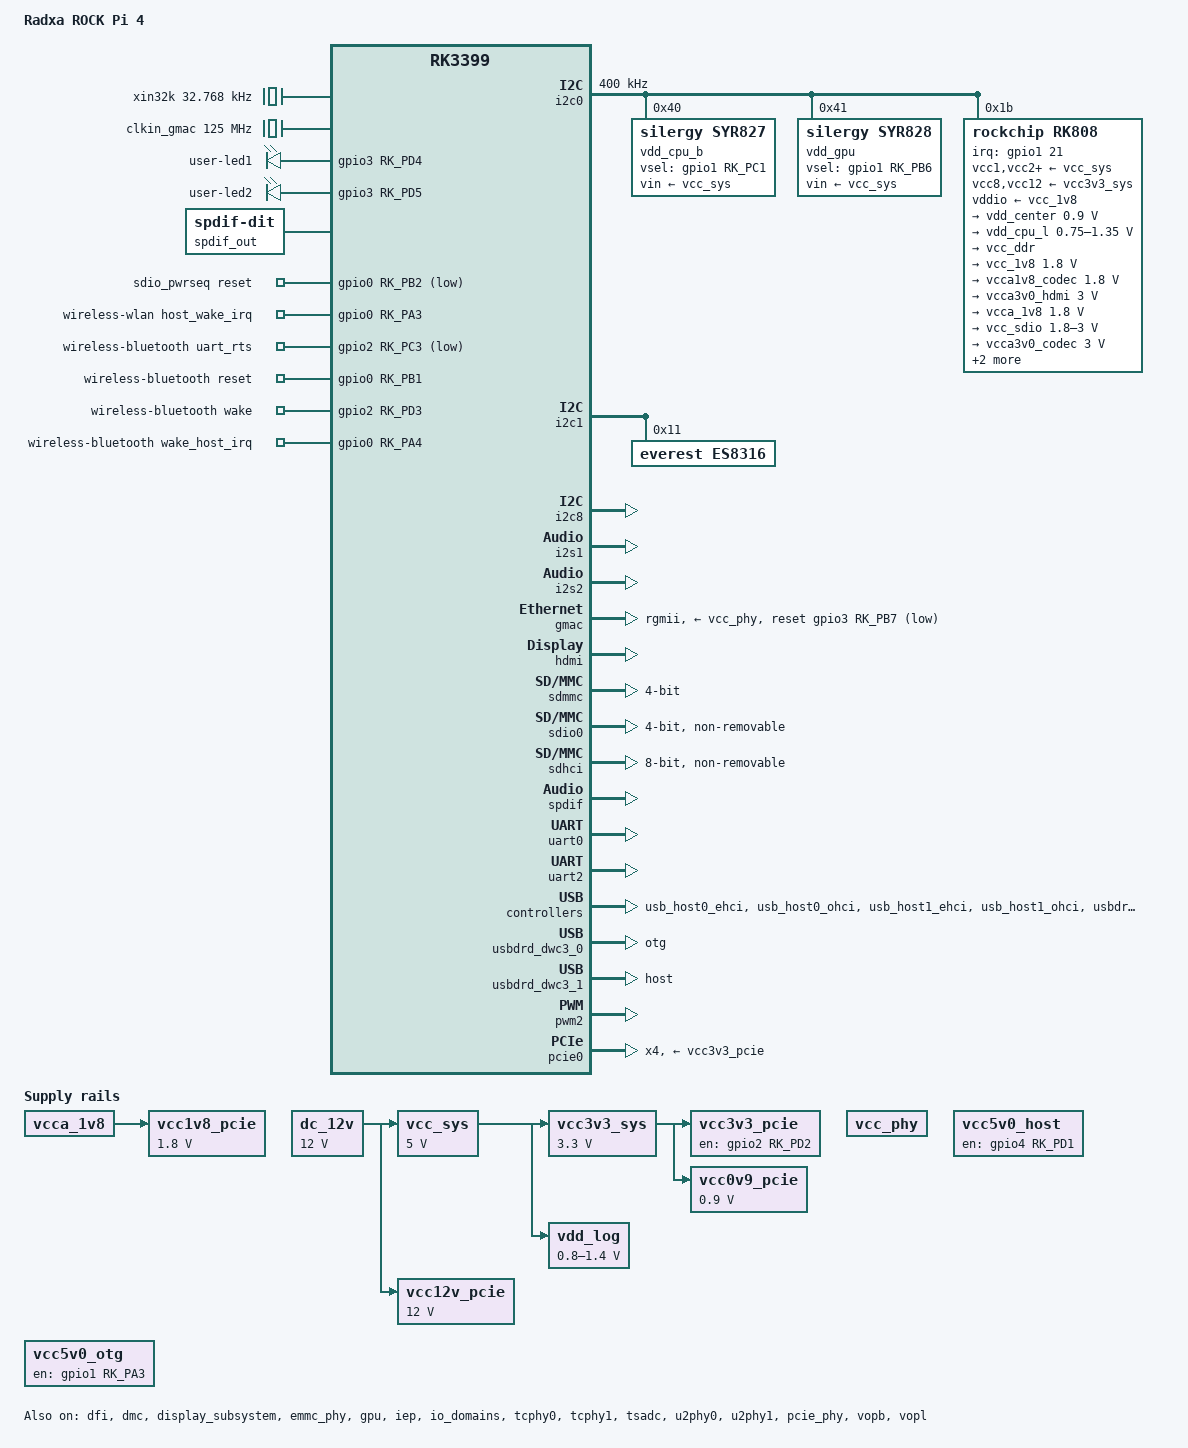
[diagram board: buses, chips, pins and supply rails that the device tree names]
/*
 * Copyright (c) 2016 Fuzhou Rockchip Electronics Co., Ltd
 *
 * This file is dual-licensed: you can use it either under the terms
 * of the GPL or the X11 license, at your option. Note that this dual
 * licensing only applies to this file, and not this project as a
 * whole.
 *
 *  a) This file is free software; you can redistribute it and/or
 *     modify it under the terms of the GNU General Public License as
 *     published by the Free Software Foundation; either version 2 of the
 *     License, or (at your option) any later version.
 *
 *     This file is distributed in the hope that it will be useful,
 *     but WITHOUT ANY WARRANTY; without even the implied warranty of
 *     MERCHANTABILITY or FITNESS FOR A PARTICULAR PURPOSE.  See the
 *     GNU General Public License for more details.
 *
 * Or, alternatively,
 *
 *  b) Permission is hereby granted, free of charge, to any person
 *     obtaining a copy of this software and associated documentation
 *     files (the "Software"), to deal in the Software without
 *     restriction, including without limitation the rights to use,
 *     copy, modify, merge, publish, distribute, sublicense, and/or
 *     sell copies of the Software, and to permit persons to whom the
 *     Software is furnished to do so, subject to the following
 *     conditions:
 *
 *     The above copyright notice and this permission notice shall be
 *     included in all copies or substantial portions of the Software.
 *
 *     THE SOFTWARE IS PROVIDED "AS IS", WITHOUT WARRANTY OF ANY KIND,
 *     EXPRESS OR IMPLIED, INCLUDING BUT NOT LIMITED TO THE WARRANTIES
 *     OF MERCHANTABILITY, FITNESS FOR A PARTICULAR PURPOSE AND
 *     NONINFRINGEMENT. IN NO EVENT SHALL THE AUTHORS OR COPYRIGHT
 *     HOLDERS BE LIABLE FOR ANY CLAIM, DAMAGES OR OTHER LIABILITY,
 *     WHETHER IN AN ACTION OF CONTRACT, TORT OR OTHERWISE, ARISING
 *     FROM, OUT OF OR IN CONNECTION WITH THE SOFTWARE OR THE USE OR
 *     OTHER DEALINGS IN THE SOFTWARE.
 */

/dts-v1/;
#include <dt-bindings/pwm/pwm.h>
#include <dt-bindings/input/input.h>
#include "rk3399.dtsi"
#include "rk3399-linux.dtsi"
#include "rk3399-opp.dtsi"

/ {
	model = "Radxa ROCK Pi 4";
	compatible = "radxa,rockpi4", "rockchip,rk3399";

	aliases {
		ethernet0 = &gmac;
		uart0 = &uart0;
	};

	xin32k: xin32k {
		compatible = "fixed-clock";
		clock-frequency = <32768>;
		clock-output-names = "xin32k";
		#clock-cells = <0>;
	};

	clkin_gmac: external-gmac-clock {
		compatible = "fixed-clock";
		clock-frequency = <125000000>;
		clock-output-names = "clkin_gmac";
		#clock-cells = <0>;
	};

	dc_12v: dc-12v {
		compatible = "regulator-fixed";
		regulator-name = "dc_12v";
		regulator-always-on;
		regulator-boot-on;
		regulator-min-microvolt = <12000000>;
		regulator-max-microvolt = <12000000>;
	};

	vcc_sys: vcc-sys {
		compatible = "regulator-fixed";
		regulator-name = "vcc_sys";
		regulator-min-microvolt = <5000000>;
		regulator-max-microvolt = <5000000>;
		regulator-always-on;
		vin-supply = <&dc_12v>;
	};

	vcc_phy: vcc-phy-regulator {
		compatible = "regulator-fixed";
		regulator-name = "vcc_phy";
		regulator-always-on;
		regulator-boot-on;
	};

	vcc3v3_sys: vcc3v3-sys {
		compatible = "regulator-fixed";
		regulator-name = "vcc3v3_sys";
		regulator-min-microvolt = <3300000>;
		regulator-max-microvolt = <3300000>;
		regulator-always-on;
		vin-supply = <&vcc_sys>;
	};

	vcc5v0_host: vcc5v0-host-regulator {
		compatible = "regulator-fixed";
		enable-active-high;
		gpio = <&gpio4 RK_PD1 GPIO_ACTIVE_HIGH>;
		pinctrl-names = "default";
		pinctrl-0 = <&host_vbus_drv>;
		regulator-name = "vcc5v0_host";
		regulator-always-on;
	};

	vdd_log: vdd-log {
		compatible = "pwm-regulator";
		pwms = <&pwm2 0 25000 1>;
		regulator-name = "vdd_log";
		regulator-min-microvolt = <800000>;
		regulator-max-microvolt = <1400000>;
		regulator-always-on;
		regulator-boot-on;

		/* for rockchip boot on */
		rockchip,pwm_id= <2>;
		rockchip,pwm_voltage = <900000>;

		vin-supply = <&vcc_sys>;
	};

	vcc12v_pcie: vcc12v-pcie-regulator {
		compatible = "regulator-fixed";
		regulator-min-microvolt = <12000000>;
		regulator-max-microvolt = <12000000>;
		regulator-name = "vcc12v_pcie";
		vin-supply = <&dc_12v>;
	};

	vcc3v3_pcie: vcc3v3-pcie-regulator {
		compatible = "regulator-fixed";
		enable-active-high;
		gpio = <&gpio2 RK_PD2 GPIO_ACTIVE_HIGH>;
		pinctrl-names = "default";
		pinctrl-0 = <&pcie_drv>;
		regulator-boot-on;
		regulator-always-on;
		regulator-name = "vcc3v3_pcie";
		vin-supply = <&vcc3v3_sys>;
	};

	vcc1v8_pcie: vcc1v8-pcie {
		compatible = "regulator-fixed";
		regulator-name = "vcc1v8_pcie";
		regulator-min-microvolt = <1800000>;
		regulator-max-microvolt = <1800000>;
		vin-supply = <&vcca_1v8>;
	};

	vcc0v9_pcie: vcc0v9-pcie {
		compatible = "regulator-fixed";
		regulator-name = "vcc0v9_pcie";
		regulator-min-microvolt = <900000>;
		regulator-max-microvolt = <900000>;
		vin-supply = <&vcc3v3_sys>;
	};

	vcc5v0_otg: vcc5v0-otg-regulator {
		compatible = "regulator-fixed";
		enable-active-high;
		gpio = <&gpio1 RK_PA3 GPIO_ACTIVE_HIGH>;
		pinctrl-names = "default";
		pinctrl-0 = <&otg_vbus_drv>;
		regulator-name = "vcc5v0_otg";
		regulator-always-on;
	};

	test-power {
		status = "okay";
	};

	leds {
		compatible = "gpio-leds";

		user-led1 {
			gpios=<&gpio3 RK_PD4 GPIO_ACTIVE_HIGH>;
			linux,default-trigger = "heartbeat";
		};

		user-led2 {
			gpios=<&gpio3 RK_PD5 GPIO_ACTIVE_HIGH>;
			linux,default-trigger = "disk-activity";
		};
	};

	es8316-sound {
		compatible = "simple-audio-card";
		simple-audio-card,format = "i2s";
		simple-audio-card,name = "ES8316";
		simple-audio-card,mclk-fs = <256>;
		simple-audio-card,widgets =
			"Microphone", "Mic Jack",
			"Headphone", "Headphone Jack";
		simple-audio-card,routing =
			"Headphone Jack", "HPOL",
			"Headphone Jack", "HPOR",
			"Mic Jack", "MIC1";
		simple-audio-card,cpu {
			sound-dai = <&i2s1>;
		};
		simple-audio-card,codec {
			sound-dai = <&es8316>;
		};
	};

	hdmi-sound {
		compatible = "simple-audio-card";
		simple-audio-card,format = "i2s";
		simple-audio-card,mclk-fs = <256>;
		simple-audio-card,name = "HDMI";
		simple-audio-card,cpu {
			sound-dai = <&i2s2>;
		};
		simple-audio-card,codec {
			sound-dai = <&hdmi>;
		};
	};

	spdif-sound {
		status = "okay";
		compatible = "simple-audio-card";
		simple-audio-card,name = "ROCKCHIP,SPDIF";
		simple-audio-card,cpu {
			sound-dai = <&spdif>;
		};
		simple-audio-card,codec {
			sound-dai = <&spdif_out>;
		};
	};

	spdif_out: spdif-out {
		compatible = "linux,spdif-dit";
		#sound-dai-cells = <0>;
		status = "okay";
	};

	sdio_pwrseq: sdio-pwrseq {
		compatible = "mmc-pwrseq-simple";
		clocks = <&rk808 1>;
		clock-names = "ext_clock";
		pinctrl-names = "default";
		pinctrl-0 = <&wifi_enable_h>;

		/*
		 * On the module itself this is one of these (depending
		 * on the actual card populated):
		 * - SDIO_RESET_L_WL_REG_ON
		 * - PDN (power down when low)
		 */
		reset-gpios = <&gpio0 RK_PB2 GPIO_ACTIVE_LOW>;
	};

	wireless-wlan {
		compatible = "wlan-platdata";
		rockchip,grf = <&grf>;
		wifi_chip_type = "ap6256";
		sdio_vref = <1800>;
		WIFI,host_wake_irq = <&gpio0 RK_PA3 GPIO_ACTIVE_HIGH>;
		status = "okay";
	};

	wireless-bluetooth {
		compatible = "bluetooth-platdata";
		clocks = <&rk808 1>;
		clock-names = "ext_clock";
		uart_rts_gpios = <&gpio2 RK_PC3 GPIO_ACTIVE_LOW>;
		pinctrl-names = "default", "rts_gpio";
		pinctrl-0 = <&uart0_rts>;
		pinctrl-1 = <&uart0_gpios>;
		BT,reset_gpio    = <&gpio0 RK_PB1 GPIO_ACTIVE_HIGH>;
		BT,wake_gpio     = <&gpio2 RK_PD3 GPIO_ACTIVE_HIGH>;
		BT,wake_host_irq = <&gpio0 RK_PA4 GPIO_ACTIVE_HIGH>;
		status = "okay";
	};
};

&cpu_l0 {
	cpu-supply = <&vdd_cpu_l>;
};

&cpu_l1 {
	cpu-supply = <&vdd_cpu_l>;
};

&cpu_l2 {
	cpu-supply = <&vdd_cpu_l>;
};

&cpu_l3 {
	cpu-supply = <&vdd_cpu_l>;
};

&cpu_b0 {
	cpu-supply = <&vdd_cpu_b>;
};

&cpu_b1 {
	cpu-supply = <&vdd_cpu_b>;
};

&dfi {
	status = "okay";
};

&dmc {
	status = "okay";
	center-supply = <&vdd_center>;
};

&display_subsystem {
	status = "okay";

	route {
		route_hdmi: route-hdmi {
			status = "okay";
			connect = <&vopb_out_hdmi>;
		};
	};
};

&emmc_phy {
	status = "okay";
};

&i2c0 {
	status = "okay";
	i2c-scl-rising-time-ns = <180>;
	i2c-scl-falling-time-ns = <30>;
	clock-frequency = <400000>;

	vdd_cpu_b: syr827@40 {
		compatible = "silergy,syr827";
		reg = <0x40>;
		regulator-compatible = "fan53555-reg";
		pinctrl-0 = <&vsel1_gpio>;
		vsel-gpios = <&gpio1 RK_PC1 GPIO_ACTIVE_HIGH>;
		regulator-name = "vdd_cpu_b";
		regulator-min-microvolt = <712500>;
		regulator-max-microvolt = <1500000>;
		regulator-ramp-delay = <1000>;
		fcs,suspend-voltage-selector = <1>;
		regulator-always-on;
		regulator-boot-on;
		vin-supply = <&vcc_sys>;
		regulator-state-mem {
			regulator-off-in-suspend;
		};
	};

	vdd_gpu: syr828@41 {
		compatible = "silergy,syr828";
		reg = <0x41>;
		regulator-compatible = "fan53555-reg";
		pinctrl-0 = <&vsel2_gpio>;
		vsel-gpios = <&gpio1 RK_PB6 GPIO_ACTIVE_HIGH>;
		regulator-name = "vdd_gpu";
		regulator-min-microvolt = <712500>;
		regulator-max-microvolt = <1500000>;
		regulator-enable-ramp-delay = <300>;
		regulator-ramp-delay = <1000>;
		fcs,suspend-voltage-selector = <1>;
		regulator-always-on;
		regulator-boot-on;
		vin-supply = <&vcc_sys>;
		regulator-initial-mode = <1>; /* 1:force PWM 2:auto */
		regulator-state-mem {
			regulator-off-in-suspend;
		};
	};

	rk808: pmic@1b {
		compatible = "rockchip,rk808";
		reg = <0x1b>;
		interrupt-parent = <&gpio1>;
		interrupts = <21 IRQ_TYPE_LEVEL_LOW>;
		pinctrl-names = "default";
		pinctrl-0 = <&pmic_int_l>;
		rockchip,system-power-controller;
		wakeup-source;
		#clock-cells = <1>;
		clock-output-names = "rk808-clkout1", "rk808-clkout2";

		vcc1-supply = <&vcc_sys>;
		vcc2-supply = <&vcc_sys>;
		vcc3-supply = <&vcc_sys>;
		vcc4-supply = <&vcc_sys>;
		vcc6-supply = <&vcc_sys>;
		vcc7-supply = <&vcc_sys>;
		vcc8-supply = <&vcc3v3_sys>;
		vcc9-supply = <&vcc_sys>;
		vcc10-supply = <&vcc_sys>;
		vcc11-supply = <&vcc_sys>;
		vcc12-supply = <&vcc3v3_sys>;
		vddio-supply = <&vcc_1v8>;

		rtc {
			status = "okay";
		};

		regulators {
			vdd_center: DCDC_REG1 {
				regulator-name = "vdd_center";
				regulator-min-microvolt = <900000>;
				regulator-max-microvolt = <900000>;
				regulator-ramp-delay = <6001>;
				regulator-always-on;
				regulator-boot-on;
				regulator-state-mem {
					regulator-off-in-suspend;
				};
			};

			vdd_cpu_l: DCDC_REG2 {
				regulator-name = "vdd_cpu_l";
				regulator-min-microvolt = <750000>;
				regulator-max-microvolt = <1350000>;
				regulator-ramp-delay = <6001>;
				regulator-always-on;
				regulator-boot-on;
				regulator-state-mem {
					regulator-off-in-suspend;
				};
			};

			vcc_ddr: DCDC_REG3 {
				regulator-name = "vcc_ddr";
				regulator-always-on;
				regulator-boot-on;
				regulator-state-mem {
					regulator-on-in-suspend;
				};
			};

			vcc_1v8: DCDC_REG4 {
				regulator-name = "vcc_1v8";
				regulator-min-microvolt = <1800000>;
				regulator-max-microvolt = <1800000>;
				regulator-always-on;
				regulator-boot-on;
				regulator-state-mem {
					regulator-on-in-suspend;
					regulator-suspend-microvolt = <1800000>;
				};
			};

			vcca1v8_codec: LDO_REG1 {
				regulator-name = "vcca1v8_codec";
				regulator-min-microvolt = <1800000>;
				regulator-max-microvolt = <1800000>;
				regulator-always-on;
				regulator-boot-on;
				regulator-state-mem {
					regulator-on-in-suspend;
					regulator-suspend-microvolt = <1800000>;
				};
			};

			vcca3v0_hdmi: LDO_REG2 {
				regulator-name = "vcca3v0_hdmi";
				regulator-min-microvolt = <3000000>;
				regulator-max-microvolt = <3000000>;
				regulator-always-on;
				regulator-boot-on;
				regulator-state-mem {
					regulator-on-in-suspend;
					regulator-suspend-microvolt = <3000000>;
				};
			};

			vcca_1v8: LDO_REG3 {
				regulator-name = "vcca_1v8";
				regulator-min-microvolt = <1800000>;
				regulator-max-microvolt = <1800000>;
				regulator-always-on;
				regulator-boot-on;
				regulator-state-mem {
					regulator-on-in-suspend;
					regulator-suspend-microvolt = <1800000>;
				};
			};

			vcc_sdio: LDO_REG4 {
				regulator-name = "vcc_sdio";
				regulator-min-microvolt = <1800000>;
				regulator-max-microvolt = <3000000>;
				regulator-always-on;
				regulator-boot-on;
				regulator-state-mem {
					regulator-on-in-suspend;
					regulator-suspend-microvolt = <3000000>;
				};
			};

			vcca3v0_codec: LDO_REG5 {
				regulator-name = "vcca3v0_codec";
				regulator-min-microvolt = <3000000>;
				regulator-max-microvolt = <3000000>;
				regulator-always-on;
				regulator-boot-on;
				regulator-state-mem {
					regulator-on-in-suspend;
					regulator-suspend-microvolt = <3000000>;
				};
			};

			vcc_1v5: LDO_REG6 {
				regulator-name = "vcc_1v5";
				regulator-min-microvolt = <1500000>;
				regulator-max-microvolt = <1500000>;
				regulator-always-on;
				regulator-boot-on;
				regulator-state-mem {
					regulator-on-in-suspend;
					regulator-suspend-microvolt = <1500000>;
				};
			};

			vcca0v9_hdmi: LDO_REG7 {
				regulator-name = "vcca0v9_hdmi";
				regulator-min-microvolt = <900000>;
				regulator-max-microvolt = <900000>;
				regulator-always-on;
				regulator-boot-on;
				regulator-state-mem {
					regulator-on-in-suspend;
					regulator-suspend-microvolt = <900000>;
				};
			};

			vcc_3v0: LDO_REG8 {
				regulator-name = "vcc_3v0";
				regulator-min-microvolt = <3000000>;
				regulator-max-microvolt = <3000000>;
				regulator-always-on;
				regulator-boot-on;
				regulator-state-mem {
					regulator-on-in-suspend;
					regulator-suspend-microvolt = <3000000>;
				};
			};

			vcc3v3_s3: SWITCH_REG1 {
				regulator-name = "vcc3v3_s3";
				regulator-always-on;
				regulator-boot-on;
				regulator-state-mem {
					regulator-on-in-suspend;
				};
			};

			vcc3v3_s0: SWITCH_REG2 {
				regulator-name = "vcc3v3_s0";
				regulator-always-on;
				regulator-boot-on;
				regulator-state-mem {
					regulator-on-in-suspend;
				};
			};
		};
	};
};

&i2c1 {
	status = "okay";
	i2c-scl-rising-time-ns = <168>;
	i2c-scl-falling-time-ns = <4>;

	es8316: es8316@11 {
		#sound-dai-cells = <0>;
		compatible = "everest,es8316";
		reg = <0x11>;
		clocks = <&cru SCLK_I2S_8CH_OUT>;
		clock-names = "mclk";
		pinctrl-names = "default";
		pinctrl-0 = <&i2s_8ch_mclk>;
	};

	rockpi_mcu: rockpi_mcu@45 {
		compatible = "rockpi_mcu";
		reg = <0x45>;
		status = "disabled";
	};

	rockpi_ft5406: rockpi_ft5406@38 {
		compatible = "rockpi_ft5406";
		reg = <0x38>;
		status = "disabled";
	};
};

&i2c8 {
	status = "okay";
};

&i2s1 {
	status = "okay";
	rockchip,i2s-broken-burst-len;
	rockchip,playback-channels = <8>;
	rockchip,capture-channels = <8>;
	#sound-dai-cells = <0>;
};

&i2s2 {
	#sound-dai-cells = <0>;
	rockchip,bclk-fs = <128>;
	status = "okay";
};

&gmac {
	phy-supply = <&vcc_phy>;
	phy-mode = "rgmii";
	clock_in_out = "input";
	rockchip,bugged_tx_coe;
	snps,reset-gpio = <&gpio3 RK_PB7 GPIO_ACTIVE_LOW>;
	snps,reset-active-low;
	snps,reset-delays-us = <0 10000 50000>;
	assigned-clocks = <&cru SCLK_RMII_SRC>;
	assigned-clock-parents = <&clkin_gmac>;
	pinctrl-names = "default", "sleep";
	pinctrl-0 = <&rgmii_pins>;
	pinctrl-1 = <&rgmii_sleep_pins>;
	tx_delay = <0x28>;
	rx_delay = <0x11>;
	status = "okay";
};

&gpu {
	status = "okay";
	mali-supply = <&vdd_gpu>;
};

&hdmi {
	#address-cells = <1>;
	#size-cells = <0>;
	#sound-dai-cells = <0>;
	status = "okay";
	rockchip,phy-table =
		<74250000 0x8009 0x0004 0x0272>,
		<165000000 0x802b 0x0004 0x0209>,
		<297000000 0x8039 0x0005 0x028d>,
		<594000000 0x8039 0x0000 0x019d>,
		<000000000 0x0000 0x0000 0x0000>;
};

&iep {
	status = "okay";
};

&iep_mmu {
	status = "okay";
};

&io_domains {
	status = "okay";

	bt656-supply = <&vcca_1v8>; /* bt656_gpio2ab_ms */
	audio-supply = <&vcca3v0_codec>; /* audio_gpio3d4a_ms */
	sdmmc-supply = <&vcc_sdio>; /* sdmmc_gpio4b_ms */
	gpio1830-supply = <&vcc_3v0>; /* gpio1833_gpio4cd_ms */
};

&sdmmc {
	supports-sd;
	bus-width = <4>;
	cap-mmc-highspeed;
	cap-sd-highspeed;
	disable-wp;
	num-slots = <1>;
	sd-uhs-sdr12;
	sd-uhs-sdr25;
	sd-uhs-sdr50;
	sd-uhs-sdr104;
	vqmmc-supply = <&vcc_sdio>;
	pinctrl-names = "default";
	pinctrl-0 = <&sdmmc_clk &sdmmc_cmd &sdmmc_cd &sdmmc_bus4>;
	card-detect-delay = <800>;
	status = "okay";
};

&sdio0 {
	max-frequency = <200000000>;
	supports-sdio;
	bus-width = <4>;
	disable-wp;
	cap-sd-highspeed;
	cap-sdio-irq;
	keep-power-in-suspend;
	mmc-pwrseq = <&sdio_pwrseq>;
	non-removable;
	num-slots = <1>;
	pinctrl-names = "default";
	pinctrl-0 = <&sdio0_bus4 &sdio0_cmd &sdio0_clk>;
	sd-uhs-sdr104;
	status = "okay";
};

&sdhci {
	bus-width = <8>;
	mmc-hs400-1_8v;
	mmc-hs400-enhanced-strobe;
	mmc-hs200-1_8v;
	supports-emmc;
	non-removable;
	status = "okay";
};

&spdif {
	status = "okay";
	pinctrl-0 = <&spdif_bus_1>;
	#sound-dai-cells = <0>;
};

&threshold {
	temperature = <75000>;
};

&target {
	temperature = <80000>;
};

&soc_crit {
	temperature = <85000>;
};

&tcphy0 {
	status = "okay";
};

&tcphy1 {
	status = "okay";
};

&tsadc {
	/* tshut mode 0:CRU 1:GPIO */
	rockchip,hw-tshut-mode = <1>;
	/* tshut polarity 0:LOW 1:HIGH */
	rockchip,hw-tshut-polarity = <1>;
	rockchip,hw-tshut-temp = <110000>;
	status = "okay";
};

&u2phy0 {
	status = "okay";
	enable-active-high;
	/* otg-vbus-gpios = <&gpio1 3 GPIO_ACTIVE_HIGH>;*/
	gpio = <&gpio1 3 GPIO_ACTIVE_HIGH>;

	u2phy0_otg: otg-port {
		status = "okay";
	};

	u2phy0_host: host-port {
		phy-supply = <&vcc5v0_host>;
		status = "okay";
	};
};

&u2phy1 {
	status = "okay";

	u2phy1_otg: otg-port {
		status = "okay";
	};

	u2phy1_host: host-port {
		phy-supply = <&vcc5v0_host>;
		status = "okay";
	};
};

&uart0 {
	pinctrl-names = "default";
	pinctrl-0 = <&uart0_xfer &uart0_cts>;
	status = "okay";
};

&uart2 {
	status = "okay";
};

&usb_host0_ehci {
	status = "okay";
};

&usb_host0_ohci {
	status = "okay";
};

&usb_host1_ehci {
	status = "okay";
};

&usb_host1_ohci {
	status = "okay";
};

&usbdrd3_0 {
	extcon = <&u2phy0>;
	status = "okay";
};

&usbdrd_dwc3_0 {
	dr_mode = "otg";
	status = "okay";
};

&usbdrd3_1 {
	status = "okay";
};

&usbdrd_dwc3_1 {
	dr_mode = "host";
	status = "okay";
};

&pwm2 {
	status = "okay";
	pinctrl-0 = <&pwm2_pin_pull_down>;
};

&pinctrl {
	gmac {
		rgmii_sleep_pins: rgmii-sleep-pins {
			rockchip,pins =
				<3 RK_PB7 RK_FUNC_GPIO &pcfg_output_low>;
		};
	};

	pcie {
		pcie_drv: pcie-drv {
			rockchip,pins =
				<2 RK_PD2 RK_FUNC_GPIO &pcfg_pull_up_20ma>;
			};
	};

	pmic {
		pmic_int_l: pmic-int-l {
			rockchip,pins =
				<1 RK_PC5 RK_FUNC_GPIO &pcfg_pull_up>;
		};

		vsel1_gpio: vsel1-gpio {
			rockchip,pins =
				<1 RK_PC1 RK_FUNC_GPIO &pcfg_pull_down>;
		};

		vsel2_gpio: vsel2-gpio {
			rockchip,pins =
				<1 RK_PB6 RK_FUNC_GPIO &pcfg_pull_down>;
		};
	};

	sdio-pwrseq {
		wifi_enable_h: wifi-enable-h {
			rockchip,pins =
				<0 RK_PB2 RK_FUNC_GPIO &pcfg_pull_none>;
		};
	};

	usb2 {
		host_vbus_drv: host-vbus-drv {
			rockchip,pins =
				<4 RK_PD1 RK_FUNC_GPIO &pcfg_pull_none>;
		};

		otg_vbus_drv: otg-vbus-drv {
			rockchip,pins =
				<1 3 RK_FUNC_GPIO &pcfg_pull_none>;
		};
	};

	wireless-bluetooth {
		uart0_gpios: uart0-gpios {
			rockchip,pins =
				<2 RK_PC3 RK_FUNC_GPIO &pcfg_pull_none>;
		};
	};
};

&pmu_io_domains {
	status = "okay";
	pmu1830-supply = <&vcc_3v0>;
};

&pcie_phy {
	status = "okay";
};

&pcie0 {
	assigned-clocks = <&cru SCLK_PCIEPHY_REF>;
	assigned-clock-parents = <&cru SCLK_PCIEPHY_REF100M>;
	assigned-clock-rates = <100000000>;
	ep-gpios = <&gpio4 27 GPIO_ACTIVE_HIGH>;
	num-lanes = <4>;
	pinctrl-names = "default";
	pinctrl-0 = <&pcie_clkreqnb_cpm>;
	vpcie12v-supply = <&vcc12v_pcie>;
	vpcie3v3-supply = <&vcc3v3_pcie>;
	vpcie1v8-supply = <&vcc1v8_pcie>;
	vpcie0v9-supply = <&vcc0v9_pcie>;
	status = "okay";
};

&rockchip_suspend {
	status = "okay";
	rockchip,sleep-debug-en = <0>;
	rockchip,sleep-mode-config = <
		(0
		| RKPM_SLP_ARMPD
		| RKPM_SLP_PERILPPD
		| RKPM_SLP_DDR_RET
		| RKPM_SLP_PLLPD
		| RKPM_SLP_CENTER_PD
		| RKPM_SLP_AP_PWROFF
		)
	>;
	rockchip,wakeup-config = <
		(0
		| RKPM_GPIO_WKUP_EN
		| RKPM_PWM_WKUP_EN
		)
	>;
	rockchip,pwm-regulator-config = <
		(0
		| PWM2_REGULATOR_EN
		)
	>;
	rockchip,power-ctrl =
		<&gpio1 17 GPIO_ACTIVE_HIGH>,
		<&gpio1 14 GPIO_ACTIVE_HIGH>;
};

&vopb {
	status = "okay";
	assigned-clocks = <&cru DCLK_VOP0_DIV>;
	assigned-clock-parents = <&cru PLL_VPLL>;
};

&vopb_mmu {
	status = "okay";
};

&vopl {
	status = "okay";
	assigned-clocks = <&cru DCLK_VOP1_DIV>;
	assigned-clock-parents = <&cru PLL_CPLL>;
};

&vopl_mmu {
	status = "okay";
};
